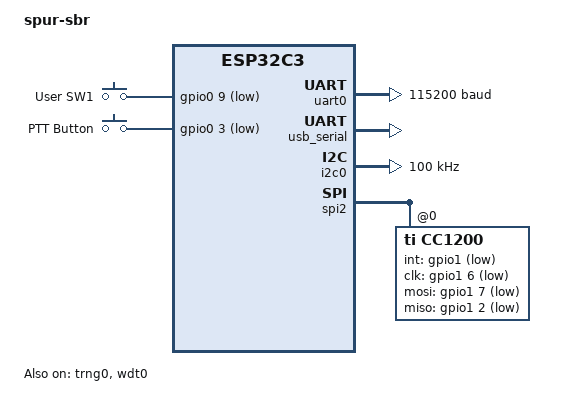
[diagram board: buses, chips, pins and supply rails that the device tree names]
/*
 * SPDX-License-Identifier: GPL-3.0-only
 */
/dts-v1/;

#include <espressif/esp32c3/esp32c3_wroom_02.dtsi>
#include <zephyr/dt-bindings/pinctrl/esp-pinctrl-common.h>
#include <dt-bindings/pinctrl/esp32c3-pinctrl.h>
#include <zephyr/dt-bindings/pinctrl/esp32c3-gpio-sigmap.h>
#include <dt-bindings/input/input-event-codes.h>
// #include <zephyr/dt-bindings/led/led.h>
// #include "esp32c3_devkitm-pinctrl.dtsi"

//dtsi defines SPI pins as MISO GPIO2, SCLK GPIO6, CSEL, GPIO10, MOSI GPIO7

/ {
    model = "spur-sbr";
    compatible = "espressif,esp32c3";

	chosen {
		zephyr,sram = &sram0;
		zephyr,console = &uart0;
		zephyr,shell-uart = &uart0;
		zephyr,flash = &flash0;
		zephyr,code-partition = &slot0_partition;
	};

	aliases {
		sw0 = &user_button1;
		i2c-0 = &i2c0;
		watchdog0 = &wdt0;
	};

	gpio_keys {
		compatible = "gpio-keys";
		user_button1: button_1 {
			label = "User SW1";
			gpios = <&gpio0 9 (GPIO_PULL_UP | GPIO_ACTIVE_LOW)>;
			zephyr,code = <INPUT_KEY_0>;
		};
	};

	leds: leds {
            compatible = "gpio-leds";
			
    };

	buttons: buttons {
        compatible = "gpio-keys";

        button_ptt: button_0 {
            gpios = <&gpio0 3 (GPIO_PULL_UP | GPIO_ACTIVE_LOW)>; 
            zephyr,code = <INPUT_BTN_SELECT>;
            label = "PTT Button";
        };
  };

};

&cpu0 {
	clock-frequency = <ESP32_CLK_CPU_160M>;
};

&uart0 {
	status = "okay";
	current-speed = <115200>;
	pinctrl-0 = <&uart0_default>;
	pinctrl-names = "default";
};

&usb_serial {
	/* requires resoldering of resistors on the board */
	status = "okay";
};

&i2c0 {
	status = "okay";
	clock-frequency = <I2C_BITRATE_STANDARD>;
	pinctrl-0 = <&i2c0_default>;
	pinctrl-names = "default";
};

&trng0 {
	status = "okay";
};



&spi2 {
	
	#address-cells = <1>;
	#size-cells = <0>;
	status = "okay";
	pinctrl-0 = <&spim2_default>; //How does spim2_default interoperate with the CC1200@0
	pinctrl-names = "default";

	cc1200: cc1200@0 {
		compatible = "ti,cc1200";
		int-gpios = <&gpio1 GPIO_ACTIVE_LOW>;
		cs-gpios = <&gpio1 10 GPIO_ACTIVE_LOW>;
		clk-gpios = <&gpio1 6 GPIO_ACTIVE_LOW>;
		mosi-gpios = <&gpio1 7 GPIO_ACTIVE_LOW>;
		miso-gpios = <&gpio1 2 GPIO_ACTIVE_LOW>;
		label = "CC1200"
	}
};

&gpio0 {
	status = "okay";
};

&wdt0 {
	status = "okay";
};

&timer0 {
	status = "disabled";
};

&timer1 {
	status = "disabled";
};

&twai {
	/* requires external CAN transceiver or jumper on RX and TX pins for loopback testing */
	status = "disabled";
	pinctrl-0 = <&twai_default>;
	pinctrl-names = "default";
	bus-speed = <125000>;
};

&flash0 {
	status = "okay";
	partitions {
		compatible = "fixed-partitions";
		#address-cells = <1>;
		#size-cells = <1>;

		/* Reserve 60kB for the bootloader */
		boot_partition: partition@0 {
			label = "mcuboot";
			reg = <0x00000000 0x0000F000>;
			read-only;
		};

		/* Reserve 1024kB for the application in slot 0 */
		slot0_partition: partition@10000 {
			label = "image-0";
			reg = <0x00010000 0x00100000>;
		};

		/* Reserve 1024kB for the application in slot 1 */
		slot1_partition: partition@110000 {
			label = "image-1";
			reg = <0x00110000 0x00100000>;
		};

		/* Reserve 256kB for the scratch partition */
		scratch_partition: partition@210000 {
			   label = "image-scratch";
			   reg = <0x00210000 0x00040000>;
		};

		storage_partition: partition@250000 {
			label = "storage";
			reg = <0x00250000 0x00006000>;
		};
	};
};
